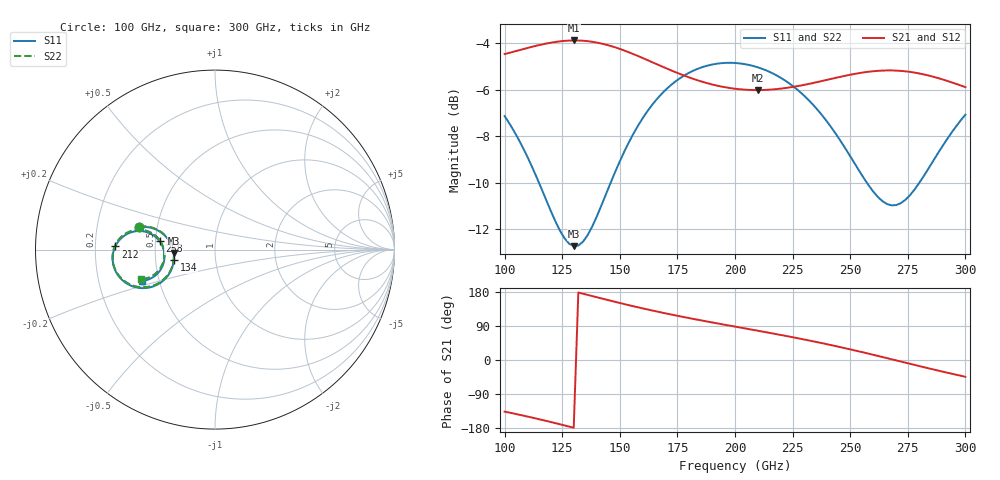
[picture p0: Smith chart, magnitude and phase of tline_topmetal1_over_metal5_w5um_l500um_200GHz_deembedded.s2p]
! Created with skrf 2.0.1 (http://scikit-rf.org).
# GHz S DB R 50.0
!freq dBS11 angS11 dBS21 angS21 dBS12 angS12 dBS22 angS22
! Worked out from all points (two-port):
!   101 points, 100 GHz to 300 GHz, reference 50 ohm
!   highest |S21| = -3.87 dB at 130 GHz (marker M1); lowest = -6.0 dB at 210 GHz (marker M2)
!   |S21| within 3 dB of the highest: start of sweep to end of sweep
!   lowest |S11| = -12.7 dB at 130 GHz (marker M3), VSWR 1.60, Z = 31.3 - j1.26 ohm
!   |S11| at or under -10 dB: 114.9 GHz to 146 GHz (31.08 GHz wide, 23.8 % of centre); 257.3 GHz to 280 GHz (22.72 GHz wide, 8.46 % of centre)
!   |S22| runs from -12.7 to -4.8 dB; largest |S21 - S12| = 6.9e-14
!   S11 on the Smith chart (normalised r, x): 100 GHz: 0.40, +0.12; 134 GHz: 0.62, -0.08; 212 GHz: 0.29, +0.01; 258 GHz: 0.53, +0.05; 300 GHz: 0.40, -0.17
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100  -7.13 163.4  -4.46 -136.2  -4.46 -136.2  -7.13 163.1
114  -9.78 161.9  -4.09 -154.9  -4.09 -154.9  -9.78 161.4
124  -12.05 172.0  -3.91 -169.6  -3.91 -169.6  -12.04 171.6
130  -12.73 -175.3  -3.87 -178.8  -3.87 -178.8  -12.71 -175.8
134  -12.54 -166.0  -3.88 175.0  -3.88 175.0  -12.52 -166.6
142  -10.98 -152.9  -4.00 162.6  -4.00 162.6  -10.97 -153.5
152  -8.65 -148.6  -4.31 147.5  -4.31 147.5  -8.64 -149.3
160  -7.21 -150.7  -4.63 136.1  -4.63 136.1  -7.21 -151.4
168  -6.19 -154.7  -4.98 125.5  -4.98 125.5  -6.19 -155.5
184  -5.08 -164.7  -5.59 106.0  -5.59 106.0  -5.08 -165.5
200  -4.84 -174.7  -5.95 88.1  -5.95 88.1  -4.84 -175.6
210  -5.03 179.3  -6.01 77.1  -6.01 77.1  -5.03 178.4
212  -5.10 178.2  -6.00 74.9  -6.00 74.9  -5.10 177.3
224  -5.75 171.8  -5.89 61.3  -5.89 61.3  -5.75 170.8
234  -6.65 167.6  -5.70 49.2  -5.70 49.2  -6.65 166.6
246  -8.23 165.7  -5.43 33.6  -5.43 33.6  -8.22 164.7
258  -10.11 171.4  -5.22 16.7  -5.22 16.7  -10.09 170.3
268  -10.97 -175.9  -5.16 1.9  -5.16 1.9  -10.95 -177.1
274  -10.73 -167.4  -5.20 -7.1  -5.20 -7.1  -10.71 -168.6
282  -9.70 -159.2  -5.33 -19.0  -5.33 -19.0  -9.69 -160.5
292  -8.13 -155.8  -5.61 -33.3  -5.61 -33.3  -8.12 -157.1
300  -7.07 -156.8  -5.88 -44.2  -5.88 -44.2  -7.06 -158.2
